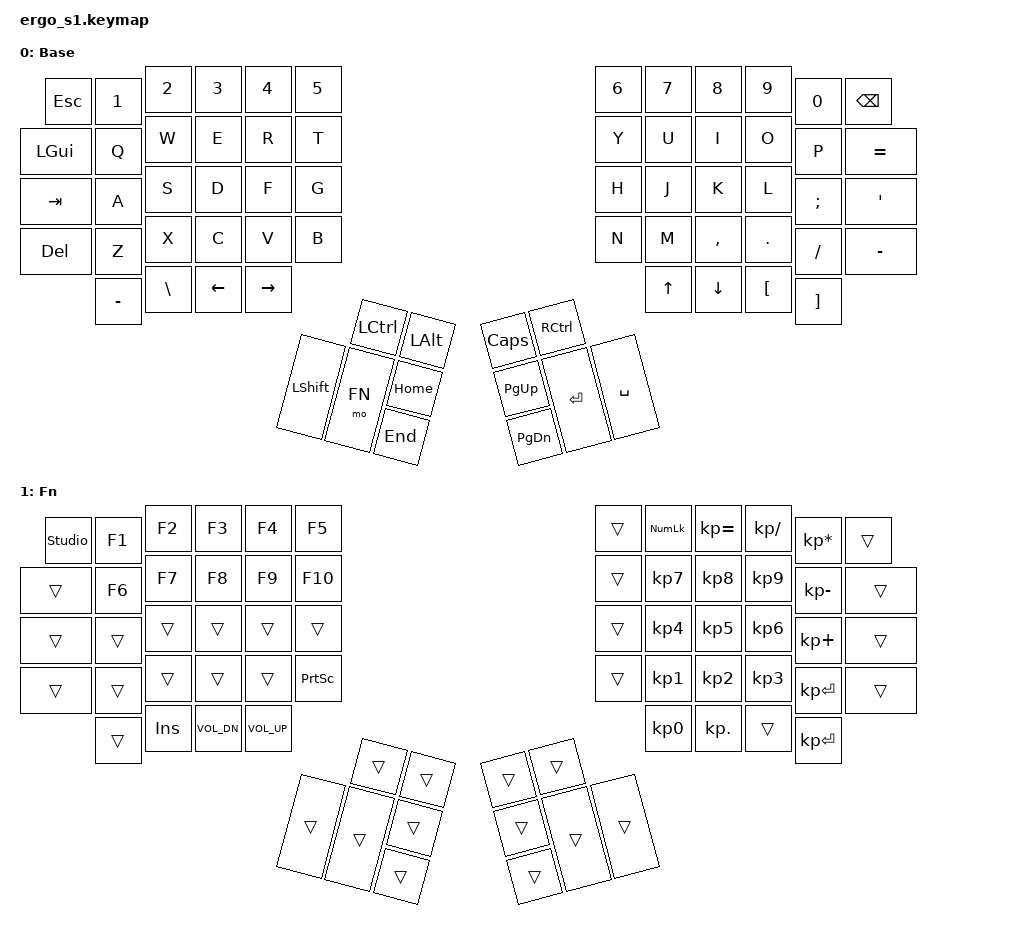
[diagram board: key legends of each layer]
/*
 * Ergo S1 keymap (ZMK v0.3)
 *
 * Key order matches ergo_s1-layouts.dtsi:
 *   4 rows x 12, then the bottom row (4 + 4), then left thumbs (6) and right thumbs (6).
 *   Left thumbs : Shift  Fn     Ctrl   Alt    Home   End
 *   Right thumbs: PgDn   PgUp   Caps   Ctrl   Enter  Space
 */

#include <behaviors.dtsi>
#include <dt-bindings/zmk/keys.h>
#include <dt-bindings/zmk/bt.h>

#define BASE 0
#define FN   1

/ {
    keymap {
        compatible = "zmk,keymap";

        base_layer {
            display-name = "Base";
            bindings = <
&kp ESC   &kp N1 &kp N2 &kp N3   &kp N4    &kp N5      &kp N6 &kp N7 &kp N8    &kp N9   &kp N0   &kp BSPC
&kp LGUI  &kp Q  &kp W  &kp E    &kp R     &kp T       &kp Y  &kp U  &kp I     &kp O    &kp P    &kp EQUAL
&kp TAB   &kp A  &kp S  &kp D    &kp F     &kp G       &kp H  &kp J  &kp K     &kp L    &kp SEMI &kp SQT
&kp DEL   &kp Z  &kp X  &kp C    &kp V     &kp B       &kp N  &kp M  &kp COMMA &kp DOT  &kp FSLH &kp MINUS
          &kp MINUS &kp BSLH &kp LEFT &kp RIGHT          &kp UP &kp DOWN &kp LBKT &kp RBKT
&kp LSHFT &mo FN &kp LCTRL &kp LALT &kp HOME &kp END
&kp PG_DN &kp PG_UP &kp CAPS &kp RCTRL &kp ENTER &kp SPACE
            >;
        };

        fn_layer {
            display-name = "Fn";
            bindings = <
&studio_unlock &kp F1 &kp F2 &kp F3 &kp F4 &kp F5    &trans &kp KP_NUM &kp KP_EQUAL &kp KP_SLASH &kp KP_MULTIPLY &trans
&trans &kp F6 &kp F7 &kp F8 &kp F9 &kp F10           &trans &kp KP_N7  &kp KP_N8    &kp KP_N9    &kp KP_MINUS    &trans
&trans &trans &trans &trans &trans &trans            &trans &kp KP_N4  &kp KP_N5    &kp KP_N6    &kp KP_PLUS     &trans
&trans &trans &trans &trans &trans &kp PSCRN         &trans &kp KP_N1  &kp KP_N2    &kp KP_N3    &kp KP_ENTER    &trans
       &trans &kp INS &kp C_VOL_DN &kp C_VOL_UP             &kp KP_N0  &kp KP_DOT   &trans       &kp KP_ENTER
&trans &trans &trans &trans &trans &trans
&trans &trans &trans &trans &trans &trans
            >;
        };

        /* Empty slots ZMK Studio can turn into new layers */
        extra1 { status = "reserved"; };
        extra2 { status = "reserved"; };
        extra3 { status = "reserved"; };
    };
};
